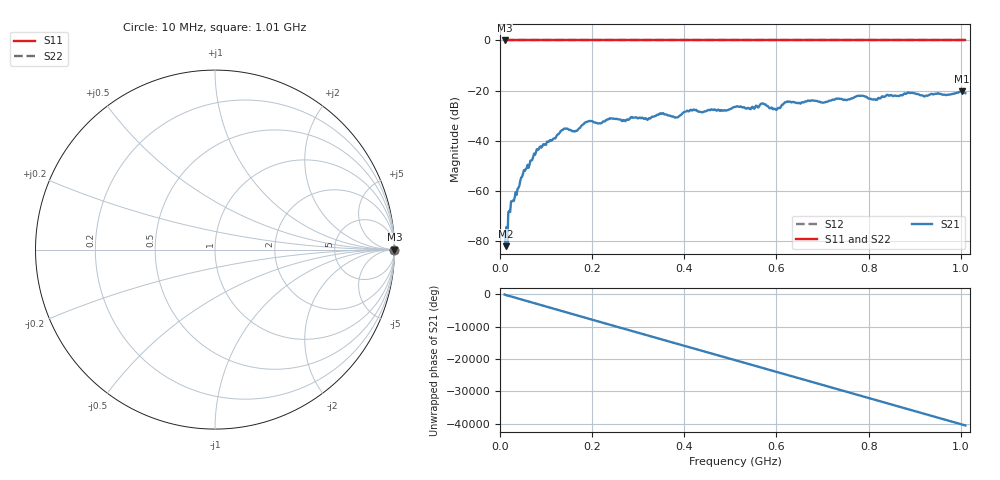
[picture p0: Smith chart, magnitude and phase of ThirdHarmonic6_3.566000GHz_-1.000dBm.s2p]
! 8/17/2025 11:48:28 AM
! C:\ANRITSUVNA\TEMP\TEMP.S2P
! CHANNEL.1
! TR.MEASUREMENT
! RAW.DATA
! RF.CORRECTION.OFF
! AVERAGING.OFF
! IF.BANDWIDTH: 5KHZ
! SWEEPTYPE:  FREQ.SWEEP(Linear)
! Reference Plane Port Info
! PORT:  PORT1  PORT2
! DISTANCE:  0  m  0  m
! TIME:  0  s  0  s
! PHASE.OFFSET:  0  deg.  0  deg.
! LOSS:  0  dB  0  dB
! REF.LOSS:  0  dB  0  dB
! REF.FREQ:  0  Hz  0  Hz
! Power Info
! POWER:  -20  dBm  -20  dBm
! EFF.POWER:  -20  dBm  -20  dBm
! SOURCE.ATTEN:  0  dB  0  dB
! TEST.ATTEN:  0  dB  0  dB
# GHZ S RI R 50.0
! FREQ.GHZ  S11RE  S11IM  S21RE  S21IM  S12RE  S12IM  S22RE  S22IM
!; PortSelection: Port_12
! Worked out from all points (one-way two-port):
!   501 points, 10 MHz to 1.01 GHz, reference 50 ohm
!   highest |S21| = -20.31 dB at 1.002 GHz (marker M1); lowest = -82.0 dB at 12 MHz (marker M2)
!   lowest |S11| = 0.0 dB at 10 MHz (marker M3)
!   |S11| at or under -10 dB: nowhere
!   |S22| runs from 0.0 to 0.0 dB; largest |S21 - S12| = 1.1
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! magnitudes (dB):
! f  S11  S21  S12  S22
! 10 MHz  0.0  -76.2  0.0  0.0
! 12 MHz  0.0  -82.0  0.0  0.0
! 22 MHz  0.0  -68.4  0.0  0.0
! 48 MHz  0.0  -54.3  0.0  0.0
! 78 MHz  0.0  -44.4  0.0  0.0
! 136 MHz  0.0  -35.7  0.0  0.0
! 162 MHz  0.0  -36.3  0.0  0.0
! 178 MHz  0.0  -33.8  0.0  0.0
! 194 MHz  0.0  -32.1  0.0  0.0
! 344 MHz  0.0  -29.6  0.0  0.0
! 382 MHz  0.0  -30.7  0.0  0.0
! 416 MHz  0.0  -27.9  0.0  0.0
! 510 MHz  0.0  -26.5  0.0  0.0
! 570 MHz  0.0  -25.1  0.0  0.0
! 596 MHz  0.0  -27.2  0.0  0.0
! 622 MHz  0.0  -24.5  0.0  0.0
! 678 MHz  0.0  -23.9  0.0  0.0
! 784 MHz  0.0  -22.0  0.0  0.0
! 814 MHz  0.0  -23.5  0.0  0.0
! 844 MHz  0.0  -22.0  0.0  0.0
! 1.002 GHz  0.0  -20.3  0.0  0.0
! 1.01 GHz  0.0  -21.0  0.0  0.0
